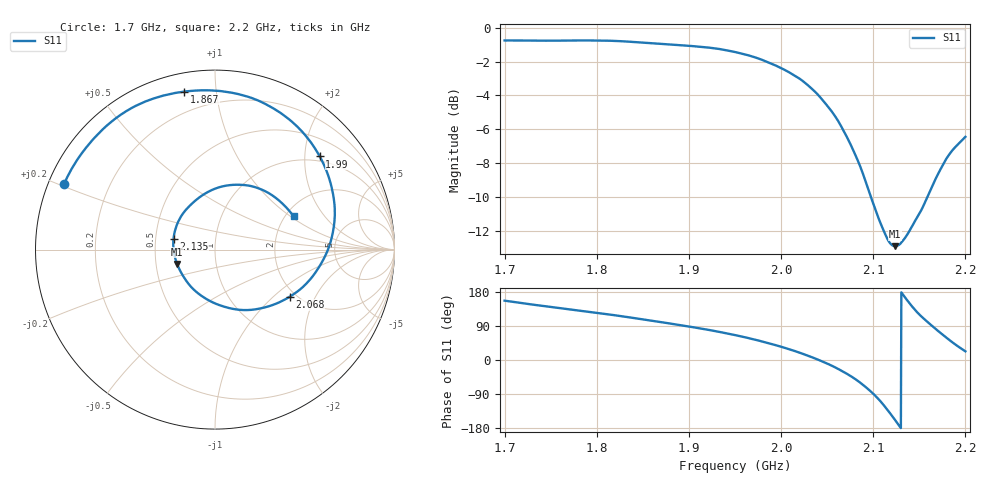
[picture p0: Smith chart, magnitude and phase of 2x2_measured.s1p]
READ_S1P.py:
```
""" 
Author: Kobe Prior
Date: Dec 1, 2025
The purpose of this file is to read s1p to be used in the main program for phased array calibration
format: ! Freq S11:Re/Im(F2)
Secondary Purpose: Generate useful plots
"""
import os
from config import FREQ
import matplotlib.pyplot as plt
import numpy as np
from pathlib import Path

# for 2x2 array
def plot_s1p_2x2():
    """
    Read S-parameter data from a .s1p file.
    Returns freqs, s11
    Also plots |S11| in dB.
    """
    data = []
    with open('2x2_measured.s1p', "r") as f:
        for line in f:
            # Skip comments and option lines
            if line.startswith("!") or line.startswith("#") or not line.strip():
                continue
            parts = line.split()
            # Expected format (RI): freq Re(S11) Im(S11)
            freq = float(parts[0])
            s11 = complex(float(parts[1]), float(parts[2]))
            data.append((freq, s11))
    
    # Convert to arrays
    data = np.array(data, dtype=object)
    freqs = np.array([d[0] for d in data])
    s11 = np.array([d[1] for d in data])
    
    # Convert S11 to dB
    s11_db = 20 * np.log10(np.abs(s11))
    
    # Plot with larger font sizes
    plt.figure(figsize=(8, 5))
    plt.plot(freqs, s11_db)
    plt.xlabel("Frequency", fontsize=16)
    plt.ylabel("|S11| (dB)", fontsize=16)
    plt.title("S11 vs Frequency", fontsize=18)
    plt.tick_params(axis='both', which='major', labelsize=14)
    plt.grid(True)
    plt.tight_layout()
    plt.show()
    
    return freqs, s11

def read_s1p(filepath: Path):
    """
    Read S-parameter data from a .s1p file.
    Returns freqs (array), s11 (complex array)
    """
    data = []
    with open(filepath, "r") as f:
        for line in f:
            if line.startswith("!") or line.startswith("#") or not line.strip():
                continue
            parts = line.split()
            freq = float(parts[0])
            s11 = complex(float(parts[1]), float(parts[2]))
            data.append((freq, s11))
    
    data = np.array(data, dtype=object)
    freqs = np.array([d[0] for d in data])
    s11 = np.array([d[1] for d in data])
    
    return freqs, s11

def plot_s1p_4x4():
    """
    Reads element1.s1p ... element16.s1p from directory and plots |S11| dB for all on the same plot.
    """
    plt.figure(figsize=(10, 6))
    
    for i in range(1, 17):
        filepath = Path("S1P_4x4") / f"element{i}.s1p"
        freqs, s11 = read_s1p(filepath)
        s11_db = 20 * np.log10(np.abs(s11))
        plt.plot(freqs, s11_db, label=f"Element {i}")
    
    plt.xlabel("Frequency", fontsize=16)
    plt.ylabel("|S11| (dB)", fontsize=16)
    plt.title("S11 for All 16 Elements", fontsize=18)
    plt.tick_params(axis='both', which='major', labelsize=14)
    plt.grid(True)
    plt.legend(ncol=4, fontsize=10)
    plt.tight_layout()
    plt.show()

if __name__ =='__main__':
    plot_s1p_2x2()
    plot_s1p_4x4()
```
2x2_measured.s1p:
# Hz S RI R 50
! CMT, CMT808U, 21440046, 21.4.3/4
! Date: 12/1/2025 10:43:35 AM
! Data: Format (Calibration Info)
! Freq	S11:Re/Im(F2)
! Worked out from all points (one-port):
!   1001 points, 1.7 GHz to 2.2 GHz, reference 50 ohm
!   lowest |S11| = -12.9 dB at 2.124 GHz (marker M1), VSWR 1.58, Z = 32.2 - j5.42 ohm
!   |S11| at or under -10 dB: 2.097 GHz to 2.159 GHz (61.49 MHz wide, 2.89 % of centre)
!   S11 on the Smith chart (normalised r, x): 1.7 GHz: 0.05, +0.21; 1.867 GHz: 0.09, +0.82; 1.99 GHz: 0.88, +2.34; 2.068 GHz: 1.85, -1.28; 2.135 GHz: 0.62, +0.08; 2.2 GHz: 2.21, +1.06
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1.7e9  -0.8414 0.3643
1.792e9  -0.5545 0.7303
1.867e9  -0.1705 0.8807
1.934e9  0.2429 0.8294
1.9905e9  0.5836 0.5192
2.0335e9  0.6542 0.0839
2.0685e9  0.4158 -0.2628
2.0945e9  0.0753 -0.3248
2.124e9  -0.2113 -0.0798
2.1345e9  -0.2309 0.0614
2.1505e9  -0.1371 0.2479
2.169e9  0.0671 0.3571
2.1825e9  0.254 0.3369
2.2e9  0.4383 0.1849
